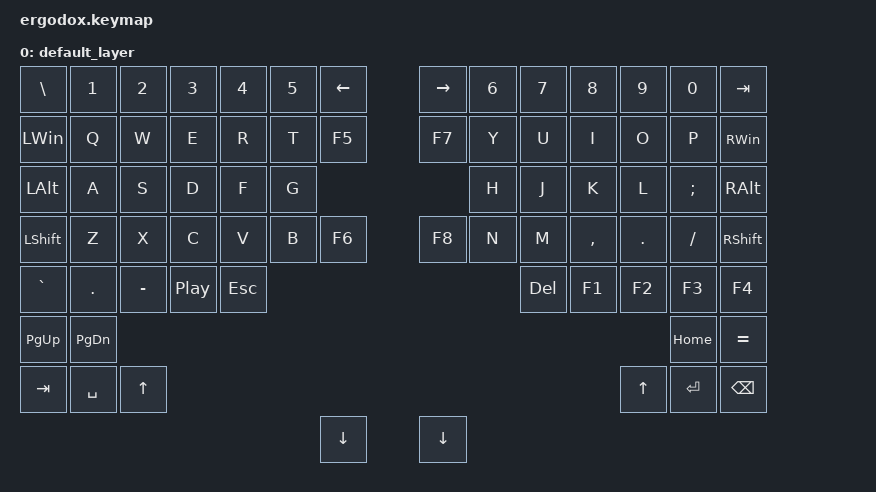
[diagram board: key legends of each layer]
/*
 * Copyright (c) 2020 The ZMK Contributors
 *
 * SPDX-License-Identifier: MIT
 */

#include <behaviors.dtsi>
#include <dt-bindings/zmk/keys.h>
#include <dt-bindings/zmk/bt.h>
#include <dt-bindings/zmk/outputs.h>


/ {
    keymap {
        compatible = "zmk,keymap";

        default_layer {
			bindings = <
            &kp BSLH  &kp N1  &kp N2    &kp N3  &kp N4  &kp N5  &kp LEFT              &kp RIGHT  &kp  N6  &kp N7  &kp  N8  &kp N9  &kp  N0  &kp TAB 
            &kp LWIN  &kp  Q  &kp  W    &kp  E  &kp  R  &kp  T  &kp F5                &kp F7  &kp  Y  &kp  U  &kp  I    &kp  O  &kp  P  &kp RWIN
            &kp LALT  &kp  A  &kp  S    &kp  D  &kp  F  &kp  G                                &kp  H  &kp  J  &kp  K    &kp  L  &kp SEMI &kp RALT
            &kp LSHFT &kp  Z  &kp  X    &kp  C  &kp  V  &kp  B  &kp F6                &kp F8  &kp  N  &kp  M  &kp COMMA &kp DOT &kp FSLH &kp RSHFT
            &kp GRAVE &kp DOT &kp MINUS &kp C_PP &kp ESC                                      &kp DEL &kp  F1 &kp  F2   &kp  F3 &kp  F4
                                                    &kp PG_UP  &kp PG_DN              &kp HOME &kp EQUAL
                                            &kp TAB  &kp SPACE  &kp UP                &kp  UP  &kp RET  &kp BSPC
                                                            &kp DOWN                  &kp  DOWN
			>;
        };
    };
};
